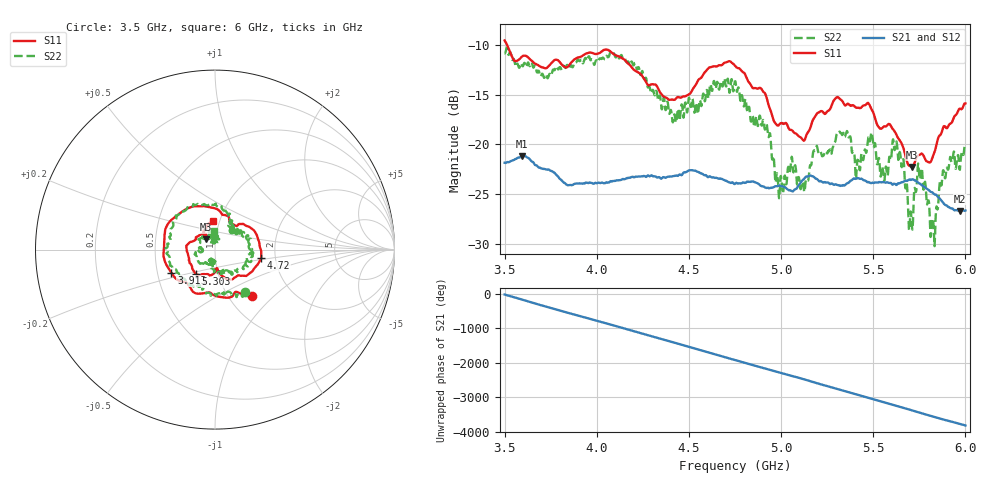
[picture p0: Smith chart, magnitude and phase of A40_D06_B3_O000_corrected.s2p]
! Created with skrf 1.9.0 (http://scikit-rf.org).
# Hz S RI R 50.0
!freq ReS11 ImS11 ReS21 ImS21 ReS12 ImS12 ReS22 ImS22
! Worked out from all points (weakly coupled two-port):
!   1601 points, 3.5 GHz to 6 GHz, reference 50 ohm
!   highest |S21| = -21.16 dB at 3.592 GHz (marker M1); lowest = -26.7 dB at 5.97 GHz (marker M2)
!   lowest |S11| = -22.3 dB at 5.709 GHz (marker M3), VSWR 1.17, Z = 44.9 + j5.26 ohm
!   |S11| at or under -10 dB: 3.513 GHz to end of sweep
!   |S22| runs from -30.2 to -10.3 dB; largest |S21 - S12| = 0.00094
!   S11 on the Smith chart (normalised r, x): 3.5 GHz: 1.27, -0.75; 3.913 GHz: 0.59, -0.17; 4.72 GHz: 1.68, -0.18; 5.303 GHz: 0.78, -0.22; 6 GHz: 0.93, +0.31
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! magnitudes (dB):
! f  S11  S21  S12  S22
! 3.5 GHz  -9.6  -21.8  -21.8  -10.9
! 3.592 GHz  -11.2  -21.2  -21.2  -11.9
! 3.913 GHz  -11.2  -23.9  -23.9  -11.6
! 3.917 GHz  -11.2  -23.9  -23.9  -11.5
! 4.141 GHz  -11.4  -23.5  -23.5  -11.3
! 4.334 GHz  -14.4  -23.3  -23.2  -15.6
! 4.422 GHz  -15.5  -23.2  -23.1  -17.0
! 4.72 GHz  -11.7  -23.8  -23.8  -14.8
! 4.75 GHz  -12.1  -24.0  -23.9  -13.7
! 4.93 GHz  -15.9  -24.4  -24.3  -19.0
! 4.998 GHz  -17.9  -24.2  -24.1  -23.2
! 5.167 GHz  -17.8  -23.2  -23.1  -21.7
! 5.303 GHz  -15.3  -24.1  -24.0  -18.9
! 5.416 GHz  -16.3  -23.4  -23.4  -21.6
! 5.584 GHz  -18.0  -23.9  -23.8  -21.8
! 5.634 GHz  -19.3  -23.9  -23.8  -21.3
! 5.709 GHz  -22.3  -23.5  -23.4  -28.0
! 5.753 GHz  -21.0  -23.9  -23.9  -23.5
! 5.823 GHz  -21.2  -24.8  -24.8  -27.4
! 5.872 GHz  -18.7  -25.7  -25.6  -23.9
! 5.97 GHz  -16.4  -26.7  -26.6  -22.5
! 6 GHz  -15.9  -26.6  -26.6  -19.9
